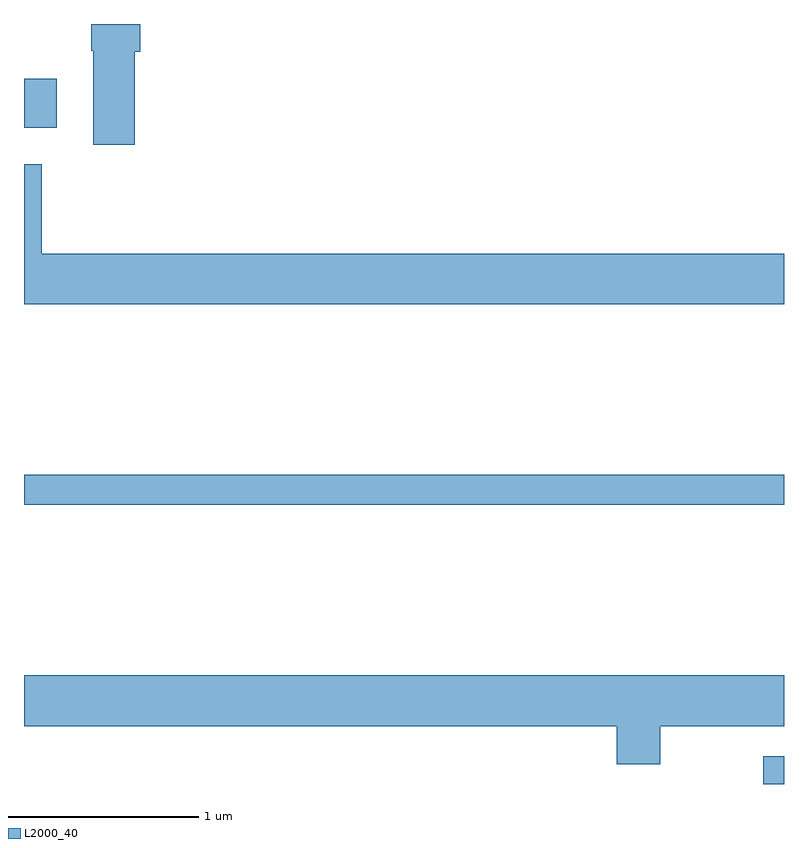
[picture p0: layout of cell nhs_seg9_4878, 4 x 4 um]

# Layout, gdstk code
import gdstk
lib = gdstk.Library(unit=1e-6, precision=1e-09)
def R(c, l, rs):  # rectangles x0, y0, x1, y1
    for r in rs: c.add(gdstk.rectangle(r[:2], r[2:], *l))
def P(c, l, *ps):  # polygons
    for p in ps: c.add(gdstk.Polygon(p, *l))
L2000_40 = (2000, 40)

nhs_seg9_4878 = lib.new_cell('nhs_seg9_4878')
R(nhs_seg9_4878, L2000_40, [(333.501,1960.432,333.611,1960.579), (329.611,1961.901,333.611,1962.059), (329.611,1963.886,329.784,1964.144)])
P(nhs_seg9_4878, L2000_40, [(330.194,1964.286),(330.224,1964.286),(330.224,1964.432),(329.966,1964.432),(329.966,1964.29),(329.976,1964.29),(329.976,1963.796),(330.194,1963.796)],
  [(333.611,1963.224),(329.704,1963.224),(329.704,1963.694),(329.611,1963.694),(329.611,1962.956),(333.611,1962.956)],
  [(332.959,1960.736),(333.611,1960.736),(333.611,1961.004),(329.611,1961.004),(329.611,1960.736),(332.731,1960.736),(332.731,1960.536),(332.959,1960.536)])

lib.write_gds('nhs_seg9_4878.gds')
